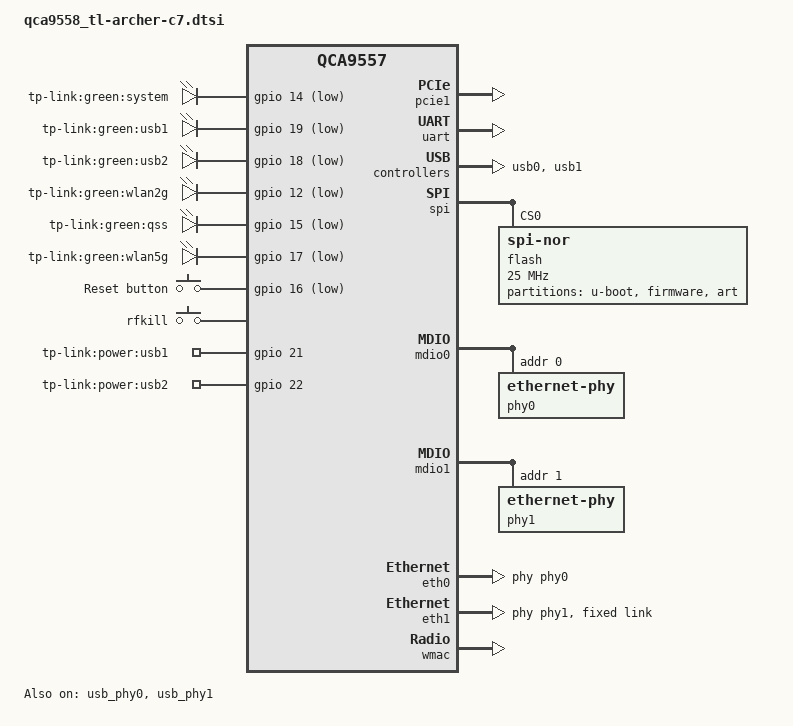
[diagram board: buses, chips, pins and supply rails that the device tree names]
// SPDX-License-Identifier: GPL-2.0-or-later OR MIT
/dts-v1/;

#include <dt-bindings/gpio/gpio.h>
#include <dt-bindings/input/input.h>

#include "qca9557.dtsi"

/ {
	chosen {
		bootargs = "console=ttyS0,115200n8";
	};

	aliases {
		led-status = &system;
	};

	leds {
		compatible = "gpio-leds";

		system: system {
			label = "tp-link:green:system";
			gpios = <&gpio 14 GPIO_ACTIVE_LOW>;
			default-state = "on";
		};

		usb1 {
			label = "tp-link:green:usb1";
			gpios = <&gpio 19 GPIO_ACTIVE_LOW>;
			default-state = "off";
			trigger-sources = <&hub_port1>;
			linux,default-trigger = "usbport";
		};

		usb2 {
			label = "tp-link:green:usb2";
			gpios = <&gpio 18 GPIO_ACTIVE_LOW>;
			default-state = "off";
			trigger-sources = <&hub_port0>;
			linux,default-trigger = "usbport";
		};

		wlan2g {
			label = "tp-link:green:wlan2g";
			gpios = <&gpio 12 GPIO_ACTIVE_LOW>;
			default-state = "off";
			linux,default-trigger = "phy1tpt";
		};

		qss {
			label = "tp-link:green:qss";
			gpios = <&gpio 15 GPIO_ACTIVE_LOW>;
			default-state = "off";
		};

		wlan5g {
			label = "tp-link:green:wlan5g";
			gpios = <&gpio 17 GPIO_ACTIVE_LOW>;
			default-state = "off";
			linux,default-trigger = "phy0tpt";
		};
	};

	keys {
		compatible = "gpio-keys";
		#address-cells = <1>;
		#size-cells = <0>;

		reset {
			label = "Reset button";
			linux,code = <KEY_RESTART>;
			gpios = <&gpio 16 GPIO_ACTIVE_LOW>;
			debounce-interval = <60>;
		};

		rfkill: wifi {
			linux,code = <KEY_RFKILL>;
			linux,input-type = <EV_SW>;
			debounce-interval = <60>;
		};
	};

	gpio-export {
		compatible = "gpio-export";
		#size-cells = <0>;

		gpio_usb1_power {
			gpio-export,name = "tp-link:power:usb1";
			gpio-export,output = <1>;
			gpios = <&gpio 21 GPIO_ACTIVE_HIGH>;
		};

		gpio_usb2_power {
			gpio-export,name = "tp-link:power:usb2";
			gpio-export,output = <1>;
			gpios = <&gpio 22 GPIO_ACTIVE_HIGH>;
		};

	};
};

&pcie1 {
	status = "okay";
};

&uart {
	status = "okay";
};

&gpio {
	status = "okay";
};

&usb_phy0 {
	status = "okay";
};

&usb0 {
	status = "okay";

	hub_port0: port@1 {
		reg = <1>;
		#trigger-source-cells = <0>;
	};
};

&usb_phy1 {
	status = "okay";
};

&usb1 {
	status = "okay";

	hub_port1: port@1 {
		reg = <1>;
		#trigger-source-cells = <0>;
	};
};

&spi {
	status = "okay";
	num-cs = <1>;

	flash@0 {
		#address-cells = <1>;
		#size-cells = <1>;
		compatible = "jedec,spi-nor";
		reg = <0>;
		spi-max-frequency = <25000000>;

		partitions {
			compatible = "fixed-partitions";
			#address-cells = <1>;
			#size-cells = <1>;

			uboot: partition@0 {
				label = "u-boot";
				reg = <0x000000 0x020000>;
				read-only;
			};

			partition@20000 {
				label = "firmware";
				reg = <0x020000 0xfd0000>;
			};

			art: partition@ff0000 {
				label = "art";
				reg = <0xff0000 0x010000>;
				read-only;
			};
		};
	};
};

&mdio0 {
	status = "okay";

	phy0: ethernet-phy@0 {
		reg = <0>;

		qca,ar8327-initvals = <
			0x04 0x00080080 /* PORT0 PAD MODE CTRL */
			0x0c 0x07600000 /* PORT6 PAD MODE CTRL */
			0x50 0xc737c737 /* LED_CTRL0 */
			0x54 0x00000000 /* LED_CTRL1 */
			0x58 0x00000000 /* LED_CTRL2 */
			0x5c 0x0030c300 /* LED_CTRL3 */
			0x7c 0x0000007e /* PORT0_STATUS */
			0x94 0x0000007e /* PORT6 STATUS */
			>;
	};
};

&mdio1 {
	status = "okay";

	phy1: ethernet-phy@1 {
		reg = <1>;
	};
};

&eth0 {
	status = "okay";

	mtd-mac-address = <&uboot 0x1fc00>;
	mtd-mac-address-increment = <1>;
	phy-handle = <&phy0>;
};

&eth1 {
	status = "okay";

	mtd-mac-address = <&uboot 0x1fc00>;
	phy-handle = <&phy1>;

	fixed-link {
		speed = <1000>;
		full-duplex;
	};
};

&wmac {
	status = "okay";
	mtd-cal-data = <&art 0x1000>;
	mtd-mac-address = <&uboot 0x1fc00>;
	mtd-mac-address-increment = <(-1)>;
};
